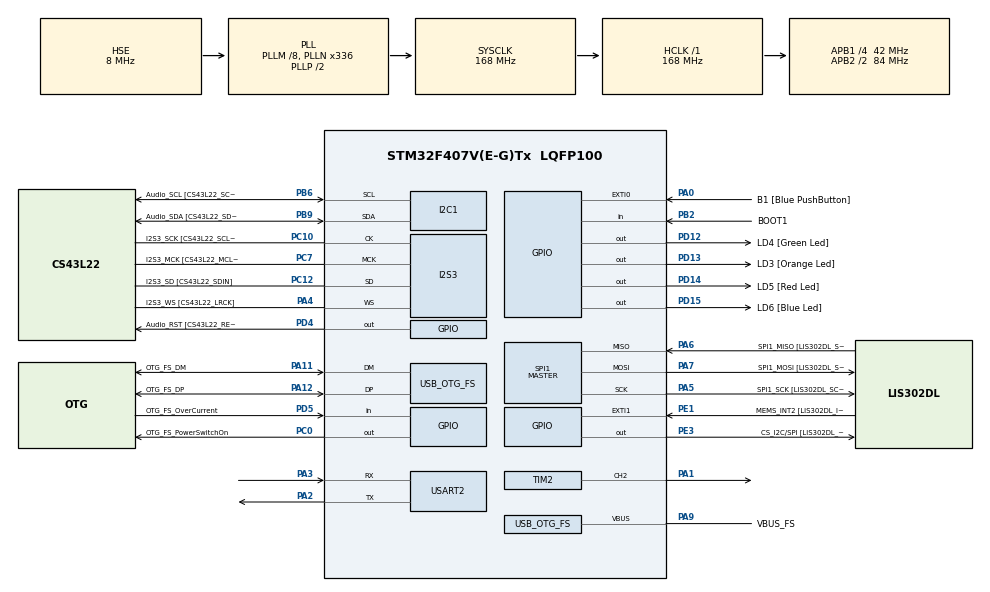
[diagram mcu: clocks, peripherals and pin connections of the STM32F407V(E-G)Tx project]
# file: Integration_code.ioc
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I2S3.AudioFreq-Half_Duplex_Master=I2S_AUDIOFREQ_96K
I2S3.ErrorAudioFreq=-2.34 %
I2S3.ErrorAudioFreq-Half_Duplex_Master=0.8 %
I2S3.FullDuplexMode=I2S_FULLDUPLEXMODE_DISABLE
I2S3.Instance=SPI$Index
I2S3.RealAudioFreq=93.75 KHz
I2S3.RealAudioFreq-Half_Duplex_Master=96.774 KHz
I2S3.VirtualMode=I2S_MODE_MASTER
Mcu.Family=STM32F4
Mcu.Name=STM32F407V(E-G)Tx
Mcu.Package=LQFP100
NVIC.OTG_FS_IRQn=true\:0\:0\:false\:false\:true\:true\:true\:true
NVIC.PriorityGroup=NVIC_PRIORITYGROUP_0
PA0-WKUP.GPIO_Label=B1 [Blue PushButton]
PA0-WKUP.GPIO_ModeDefaultEXTI=GPIO_MODE_EVT_RISING
PA0-WKUP.GPIO_PuPd=GPIO_NOPULL
PA0-WKUP.Signal=GPXTI0
PA1.Signal=S_TIM2_CH2
PA10.GPIO_Label=OTG_FS_ID
PA10.GPIO_Mode=GPIO_MODE_AF_PP
PA10.GPIO_PuPd=GPIO_NOPULL
PA10.GPIO_Speed=GPIO_SPEED_FREQ_LOW
PA10.Signal=USB_OTG_FS_ID
PA11.GPIO_Label=OTG_FS_DM
PA11.GPIO_Mode=GPIO_MODE_AF_PP
PA11.GPIO_PuPd=GPIO_NOPULL
PA11.GPIO_Speed=GPIO_SPEED_FREQ_LOW
PA11.Mode=Host_Only
PA11.Signal=USB_OTG_FS_DM
PA12.GPIO_Label=OTG_FS_DP
PA12.GPIO_Mode=GPIO_MODE_AF_PP
PA12.GPIO_PuPd=GPIO_NOPULL
PA12.GPIO_Speed=GPIO_SPEED_FREQ_LOW
PA12.Mode=Host_Only
PA12.Signal=USB_OTG_FS_DP
PA13.GPIO_Label=SWDIO
PA13.Mode=Serial_Wire
PA13.Signal=SYS_JTMS-SWDIO
PA14.GPIO_Label=SWCLK
PA14.Mode=Serial_Wire
PA14.Signal=SYS_JTCK-SWCLK
PA2.Mode=Asynchronous
PA2.Signal=USART2_TX
PA3.Mode=Asynchronous
PA3.Signal=USART2_RX
PA4.GPIO_Label=I2S3_WS [CS43L22_LRCK]
PA4.GPIO_Mode=GPIO_MODE_AF_PP
PA4.GPIO_PuPd=GPIO_NOPULL
PA4.GPIO_Speed=GPIO_SPEED_FREQ_LOW
PA4.Mode=Half_Duplex_Master
PA4.Signal=I2S3_WS
PA5.GPIO_Label=SPI1_SCK [LIS302DL_SCL/SPC]
PA5.GPIO_Mode=GPIO_MODE_AF_PP
PA5.GPIO_PuPd=GPIO_NOPULL
PA5.GPIO_Speed=GPIO_SPEED_FREQ_LOW
PA5.Mode=Full_Duplex_Master
PA5.Signal=SPI1_SCK
PA6.GPIO_Label=SPI1_MISO [LIS302DL_SDO]
PA6.GPIO_Mode=GPIO_MODE_AF_PP
PA6.GPIO_PuPd=GPIO_NOPULL
PA6.GPIO_Speed=GPIO_SPEED_FREQ_LOW
PA6.Mode=Full_Duplex_Master
PA6.Signal=SPI1_MISO
PA7.GPIO_Label=SPI1_MOSI [LIS302DL_SDA/SDI/SDO]
PA7.GPIO_Mode=GPIO_MODE_AF_PP
PA7.GPIO_PuPd=GPIO_NOPULL
PA7.GPIO_Speed=GPIO_SPEED_FREQ_LOW
PA7.Mode=Full_Duplex_Master
PA7.Signal=SPI1_MOSI
PA9.GPIO_Label=VBUS_FS
PA9.GPIO_Mode=GPIO_MODE_INPUT
PA9.GPIO_PuPd=GPIO_NOPULL
PA9.Mode=Activate_VBUS
PA9.Signal=USB_OTG_FS_VBUS
PB10.GPIO_Label=CLK_IN [MP45DT02_CLK]
PB10.GPIO_Mode=GPIO_MODE_AF_PP
PB10.GPIO_PuPd=GPIO_NOPULL
PB10.GPIO_Speed=GPIO_SPEED_FREQ_LOW
PB10.Signal=I2S2_CK
PB2.GPIO_Label=BOOT1
PB2.GPIO_Mode=GPIO_MODE_INPUT
PB2.GPIO_PuPd=GPIO_NOPULL
PB2.Signal=GPIO_Input
PB3.GPIO_Label=SWO
PB3.Signal=SYS_JTDO-SWO
PB6.GPIO_Label=Audio_SCL [CS43L22_SCL]
PB6.GPIO_Mode=GPIO_MODE_AF_OD
PB6.GPIO_Pu=GPIO_PULLUP
PB6.GPIO_PuPd=GPIO_NOPULL
PB6.GPIO_Speed=GPIO_SPEED_FREQ_LOW
PB6.Mode=I2C
PB6.Signal=I2C1_SCL
PB9.GPIO_Label=Audio_SDA [CS43L22_SDA]
PB9.GPIO_Mode=GPIO_MODE_AF_OD
PB9.GPIO_Pu=GPIO_PULLUP
PB9.GPIO_PuPd=GPIO_NOPULL
PB9.GPIO_Speed=GPIO_SPEED_FREQ_LOW
PB9.Mode=I2C
PB9.Signal=I2C1_SDA
PC0.GPIO_Label=OTG_FS_PowerSwitchOn
PC0.GPIO_PuPd=GPIO_NOPULL
PC0.GPIO_Speed=GPIO_SPEED_FREQ_LOW
PC0.PinState=GPIO_PIN_SET
PC0.Signal=GPIO_Output
PC10.GPIO_Label=I2S3_SCK [CS43L22_SCLK]
PC10.GPIO_Mode=GPIO_MODE_AF_PP
PC10.GPIO_PuPd=GPIO_NOPULL
PC10.GPIO_Speed=GPIO_SPEED_FREQ_LOW
PC10.Mode=Half_Duplex_Master
PC10.Signal=I2S3_CK
PC12.GPIO_Label=I2S3_SD [CS43L22_SDIN]
PC12.GPIO_Mode=GPIO_MODE_AF_PP
PC12.GPIO_PuPd=GPIO_NOPULL
PC12.GPIO_Speed=GPIO_SPEED_FREQ_LOW
PC12.Mode=Half_Duplex_Master
PC12.Signal=I2S3_SD
PC14-OSC32_IN.GPIO_Label=PC14-OSC32_IN
PC14-OSC32_IN.Mode=LSE-External-Oscillator
PC14-OSC32_IN.Signal=RCC_OSC32_IN
PC15-OSC32_OUT.GPIO_Label=PC15-OSC32_OUT
PC15-OSC32_OUT.Mode=LSE-External-Oscillator
PC15-OSC32_OUT.Signal=RCC_OSC32_OUT
PC3.GPIO_Label=PDM_OUT [MP45DT02_DOUT]
PC3.GPIO_Mode=GPIO_MODE_AF_PP
PC3.GPIO_PuPd=GPIO_NOPULL
PC3.GPIO_Speed=GPIO_SPEED_FREQ_LOW
PC3.Signal=I2S2_SD
PC7.GPIO_Label=I2S3_MCK [CS43L22_MCLK]
PC7.GPIO_Mode=GPIO_MODE_AF_PP
PC7.GPIO_PuPd=GPIO_NOPULL
PC7.GPIO_Speed=GPIO_SPEED_FREQ_LOW
PC7.Mode=Master_Clock_Activated
PC7.Signal=I2S3_MCK
PD12.GPIO_Label=LD4 [Green Led]
PD12.GPIO_PuPd=GPIO_NOPULL
PD12.GPIO_Speed=GPIO_SPEED_FREQ_LOW
PD12.Signal=GPIO_Output
PD13.GPIO_Label=LD3 [Orange Led]
PD13.GPIO_PuPd=GPIO_NOPULL
PD13.GPIO_Speed=GPIO_SPEED_FREQ_LOW
PD13.Signal=GPIO_Output
PD14.GPIO_Label=LD5 [Red Led]
PD14.GPIO_PuPd=GPIO_NOPULL
PD14.GPIO_Speed=GPIO_SPEED_FREQ_LOW
PD14.Signal=GPIO_Output
PD15.GPIO_Label=LD6 [Blue Led]
PD15.GPIO_PuPd=GPIO_NOPULL
PD15.GPIO_Speed=GPIO_SPEED_FREQ_LOW
PD15.Signal=GPIO_Output
PD4.GPIO_Label=Audio_RST [CS43L22_RESET]
PD4.GPIO_PuPd=GPIO_NOPULL
PD4.GPIO_Speed=GPIO_SPEED_FREQ_LOW
PD4.Signal=GPIO_Output
PD5.GPIO_Label=OTG_FS_OverCurrent
PD5.GPIO_Mode=GPIO_MODE_INPUT
PD5.GPIO_PuPd=GPIO_NOPULL
PD5.Signal=GPIO_Input
PE1.GPIO_Label=MEMS_INT2 [LIS302DL_INT2]
PE1.GPIO_ModeDefaultEXTI=GPIO_MODE_EVT_RISING
PE1.GPIO_PuPd=GPIO_NOPULL
PE1.Signal=GPXTI1
PE3.GPIO_Label=CS_I2C/SPI [LIS302DL_CS_I2C/SPI]
PE3.GPIO_PuPd=GPIO_NOPULL
PE3.GPIO_Speed=GPIO_SPEED_FREQ_LOW
PE3.Signal=GPIO_Output
PH0-OSC_IN.GPIO_Label=PH0-OSC_IN
PH0-OSC_IN.Mode=HSE-External-Oscillator
PH0-OSC_IN.Signal=RCC_OSC_IN
PH1-OSC_OUT.GPIO_Label=PH1-OSC_OUT
PH1-OSC_OUT.Mode=HSE-External-Oscillator
PH1-OSC_OUT.Signal=RCC_OSC_OUT
ProjectManager.HeapSize=0x200
ProjectManager.StackSize=0x400
ProjectManager.TargetToolchain=STM32CubeIDE
RCC.48MHZClocksFreq_Value=48000000
RCC.AHBFreq_Value=168000000
RCC.APB1CLKDivider=RCC_HCLK_DIV4
RCC.APB1Freq_Value=42000000
RCC.APB1TimFreq_Value=84000000
RCC.APB2CLKDivider=RCC_HCLK_DIV2
RCC.APB2Freq_Value=84000000
RCC.APB2TimFreq_Value=168000000
RCC.CortexFreq_Value=168000000
RCC.HCLKFreq_Value=168000000
RCC.HSE_VALUE=8000000
RCC.HSI_VALUE=16000000
RCC.PLLM=8
RCC.PLLN=336
RCC.PLLQ=7
RCC.SYSCLKFreq_VALUE=168000000
RCC.SYSCLKSource=RCC_SYSCLKSOURCE_PLLCLK
RCC.VCOOutputFreq_Value=336000000
SH.S_TIM2_CH2.0=TIM2_CH2,PWM Generation2 CH2
SPI1.BaudRatePrescaler-Full_Duplex_Master=SPI_BAUDRATEPRESCALER_2
SPI1.CalculateBaudRate-Full_Duplex_Master=42.0 MBits/s
SPI1.Direction=SPI_DIRECTION_2LINES
SPI1.Mode=SPI_MODE_MASTER
SPI1.Mode-Full_Duplex_Master=SPI_MODE_MASTER
SPI1.VirtualType=VM_MASTER
TIM2.Channel-PWM\ Generation2\ CH2=TIM_CHANNEL_2
TIM2.Period=19999
TIM2.Prescaler=83
USART2.VirtualMode=VM_ASYNC
USB_HOST.BSP.number=1
USB_HOST.USBH_HandleTypeDef-CDC_FS=hUsbHostFS
USB_HOST.VirtualModeFS=Cdc
USB_HOST0.BSP.STBoard=false
USB_HOST0.BSP.api=Unknown
USB_HOST0.BSP.instance=PC0
USB_HOST0.BSP.ip=GPIO
USB_HOST0.BSP.mode=Output
USB_HOST0.BSP.name=Drive_VBUS_FS
USB_HOST0.BSP.solution=PC0
USB_OTG_FS.VirtualMode=Host_Only
USB_OTG_FS.phy_itface=HCD_PHY_EMBEDDED
VP_USB_HOST_VS_USB_HOST_CDC_FS.Mode=CDC_FS
board=STM32F407G-DISC1

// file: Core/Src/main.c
/* USER CODE BEGIN Header */
/**
  ******************************************************************************
  * @file           : main.c
  * @brief          : Main program body
  ******************************************************************************
  * @attention
  *
  * Copyright (c) 2025 STMicroelectronics.
  * All rights reserved.
  *
  * This software is licensed under terms that can be found in the LICENSE file
  * in the root directory of this software component.
  * If no LICENSE file comes with this software, it is provided AS-IS.
  *
  ******************************************************************************
  */
/* USER CODE END Header */
#include "main.h"
#include "usb_host.h"

/* USER CODE BEGIN Includes */
#include <stdio.h>
#include <string.h>
#include <stdint.h>
/* USER CODE END Includes */

/* USER CODE BEGIN PTD */
typedef struct __attribute__((packed)) {
    uint8_t btn_flag;   // 1 byte
    float   lx;         // 4 bytes
    float   ly;         // 4 bytes
    float   rx;         // 4 bytes
    float   ry;         // 4 bytes
} Packet;

_Static_assert(sizeof(Packet) == 17, "Packet size mismatch");

/* USER CODE END PTD */

/* USER CODE BEGIN PM */
#define STX								0xAA
/* USER CODE END PM */

I2C_HandleTypeDef hi2c1;

I2S_HandleTypeDef hi2s3;

SPI_HandleTypeDef hspi1;

TIM_HandleTypeDef htim2;

UART_HandleTypeDef huart2;

/* USER CODE BEGIN PV */
uint8_t rx_val;
Packet rx_pkt;
uint8_t ch, len;

/* USER CODE END PV */

void SystemClock_Config(void);
static void MX_GPIO_Init(void);
static void MX_I2C1_Init(void);
static void MX_I2S3_Init(void);
static void MX_SPI1_Init(void);
static void MX_TIM2_Init(void);
static void MX_USART2_UART_Init(void);
void MX_USB_HOST_Process(void);

/* USER CODE BEGIN PFP */
void recieve_uart();

/* USER CODE END PFP */

int main(void)
{

  /* MCU Configuration--------------------------------------------------------*/

  /* Reset of all peripherals, Initializes the Flash interface and the Systick. */
  HAL_Init();

  /* Configure the system clock */
  SystemClock_Config();

  /* Initialize all configured peripherals */
  MX_GPIO_Init();
  MX_I2C1_Init();
  MX_I2S3_Init();
  MX_SPI1_Init();
  MX_USB_HOST_Init();
  MX_TIM2_Init();
  MX_USART2_UART_Init();

  /* Infinite loop */
  /* USER CODE BEGIN WHILE */
  while (1)
  {
	  recieve_uart();
    /* USER CODE END WHILE */
    MX_USB_HOST_Process();

  }
}

void SystemClock_Config(void)
{
  RCC_OscInitTypeDef RCC_OscInitStruct = {0};
  RCC_ClkInitTypeDef RCC_ClkInitStruct = {0};

  /** Configure the main internal regulator output voltage
  */
  __HAL_RCC_PWR_CLK_ENABLE();
  __HAL_PWR_VOLTAGESCALING_CONFIG(PWR_REGULATOR_VOLTAGE_SCALE1);

  /** Initializes the RCC Oscillators according to the specified parameters
  * in the RCC_OscInitTypeDef structure.
  */
  RCC_OscInitStruct.OscillatorType = RCC_OSCILLATORTYPE_HSE;
  RCC_OscInitStruct.HSEState = RCC_HSE_ON;
  RCC_OscInitStruct.PLL.PLLState = RCC_PLL_ON;
  RCC_OscInitStruct.PLL.PLLSource = RCC_PLLSOURCE_HSE;
  RCC_OscInitStruct.PLL.PLLM = 8;
  RCC_OscInitStruct.PLL.PLLN = 336;
  RCC_OscInitStruct.PLL.PLLP = RCC_PLLP_DIV2;
  RCC_OscInitStruct.PLL.PLLQ = 7;
  if (HAL_RCC_OscConfig(&RCC_OscInitStruct) != HAL_OK)
  {
    Error_Handler();
  }

  /** Initializes the CPU, AHB and APB buses clocks
  */
  RCC_ClkInitStruct.ClockType = RCC_CLOCKTYPE_HCLK|RCC_CLOCKTYPE_SYSCLK
                              |RCC_CLOCKTYPE_PCLK1|RCC_CLOCKTYPE_PCLK2;
  RCC_ClkInitStruct.SYSCLKSource = RCC_SYSCLKSOURCE_PLLCLK;
  RCC_ClkInitStruct.AHBCLKDivider = RCC_SYSCLK_DIV1;
  RCC_ClkInitStruct.APB1CLKDivider = RCC_HCLK_DIV4;
  RCC_ClkInitStruct.APB2CLKDivider = RCC_HCLK_DIV2;

  if (HAL_RCC_ClockConfig(&RCC_ClkInitStruct, FLASH_LATENCY_5) != HAL_OK)
  {
    Error_Handler();
  }
}

static void MX_I2C1_Init(void)
{

  hi2c1.Instance = I2C1;
  hi2c1.Init.ClockSpeed = 100000;
  hi2c1.Init.DutyCycle = I2C_DUTYCYCLE_2;
  hi2c1.Init.OwnAddress1 = 0;
  hi2c1.Init.AddressingMode = I2C_ADDRESSINGMODE_7BIT;
  hi2c1.Init.DualAddressMode = I2C_DUALADDRESS_DISABLE;
  hi2c1.Init.OwnAddress2 = 0;
  hi2c1.Init.GeneralCallMode = I2C_GENERALCALL_DISABLE;
  hi2c1.Init.NoStretchMode = I2C_NOSTRETCH_DISABLE;
  if (HAL_I2C_Init(&hi2c1) != HAL_OK)
  {
    Error_Handler();
  }

}

static void MX_I2S3_Init(void)
{

  hi2s3.Instance = SPI3;
  hi2s3.Init.Mode = I2S_MODE_MASTER_TX;
  hi2s3.Init.Standard = I2S_STANDARD_PHILIPS;
  hi2s3.Init.DataFormat = I2S_DATAFORMAT_16B;
  hi2s3.Init.MCLKOutput = I2S_MCLKOUTPUT_ENABLE;
  hi2s3.Init.AudioFreq = I2S_AUDIOFREQ_96K;
  hi2s3.Init.CPOL = I2S_CPOL_LOW;
  hi2s3.Init.ClockSource = I2S_CLOCK_PLL;
  hi2s3.Init.FullDuplexMode = I2S_FULLDUPLEXMODE_DISABLE;
  if (HAL_I2S_Init(&hi2s3) != HAL_OK)
  {
    Error_Handler();
  }

}

static void MX_SPI1_Init(void)
{

  /* SPI1 parameter configuration*/
  hspi1.Instance = SPI1;
  hspi1.Init.Mode = SPI_MODE_MASTER;
  hspi1.Init.Direction = SPI_DIRECTION_2LINES;
  hspi1.Init.DataSize = SPI_DATASIZE_8BIT;
  hspi1.Init.CLKPolarity = SPI_POLARITY_LOW;
  hspi1.Init.CLKPhase = SPI_PHASE_1EDGE;
  hspi1.Init.NSS = SPI_NSS_SOFT;
  hspi1.Init.BaudRatePrescaler = SPI_BAUDRATEPRESCALER_2;
  hspi1.Init.FirstBit = SPI_FIRSTBIT_MSB;
  hspi1.Init.TIMode = SPI_TIMODE_DISABLE;
  hspi1.Init.CRCCalculation = SPI_CRCCALCULATION_DISABLE;
  hspi1.Init.CRCPolynomial = 10;
  if (HAL_SPI_Init(&hspi1) != HAL_OK)
  {
    Error_Handler();
  }

}

static void MX_TIM2_Init(void)
{

  TIM_MasterConfigTypeDef sMasterConfig = {0};
  TIM_OC_InitTypeDef sConfigOC = {0};

  htim2.Instance = TIM2;
  htim2.Init.Prescaler = 83;
  htim2.Init.CounterMode = TIM_COUNTERMODE_UP;
  htim2.Init.Period = 19999;
  htim2.Init.ClockDivision = TIM_CLOCKDIVISION_DIV1;
  htim2.Init.AutoReloadPreload = TIM_AUTORELOAD_PRELOAD_DISABLE;
  if (HAL_TIM_PWM_Init(&htim2) != HAL_OK)
  {
    Error_Handler();
  }
  sMasterConfig.MasterOutputTrigger = TIM_TRGO_RESET;
  sMasterConfig.MasterSlaveMode = TIM_MASTERSLAVEMODE_DISABLE;
  if (HAL_TIMEx_MasterConfigSynchronization(&htim2, &sMasterConfig) != HAL_OK)
  {
    Error_Handler();
  }
  sConfigOC.OCMode = TIM_OCMODE_PWM1;
  sConfigOC.Pulse = 0;
  sConfigOC.OCPolarity = TIM_OCPOLARITY_HIGH;
  sConfigOC.OCFastMode = TIM_OCFAST_DISABLE;
  if (HAL_TIM_PWM_ConfigChannel(&htim2, &sConfigOC, TIM_CHANNEL_2) != HAL_OK)
  {
    Error_Handler();
  }
  HAL_TIM_MspPostInit(&htim2);

}

static void MX_USART2_UART_Init(void)
{

  huart2.Instance = USART2;
  huart2.Init.BaudRate = 115200;
  huart2.Init.WordLength = UART_WORDLENGTH_8B;
  huart2.Init.StopBits = UART_STOPBITS_1;
  huart2.Init.Parity = UART_PARITY_NONE;
  huart2.Init.Mode = UART_MODE_TX_RX;
  huart2.Init.HwFlowCtl = UART_HWCONTROL_NONE;
  huart2.Init.OverSampling = UART_OVERSAMPLING_16;
  if (HAL_UART_Init(&huart2) != HAL_OK)
  {
    Error_Handler();
  }

}

static void MX_GPIO_Init(void)
{
  GPIO_InitTypeDef GPIO_InitStruct = {0};

  /* GPIO Ports Clock Enable */
  __HAL_RCC_GPIOE_CLK_ENABLE();
  __HAL_RCC_GPIOC_CLK_ENABLE();
  __HAL_RCC_GPIOH_CLK_ENABLE();
  __HAL_RCC_GPIOA_CLK_ENABLE();
  __HAL_RCC_GPIOB_CLK_ENABLE();
  __HAL_RCC_GPIOD_CLK_ENABLE();

  /*Configure GPIO pin Output Level */
  HAL_GPIO_WritePin(CS_I2C_SPI_GPIO_Port, CS_I2C_SPI_Pin, GPIO_PIN_RESET);

  /*Configure GPIO pin Output Level */
  HAL_GPIO_WritePin(OTG_FS_PowerSwitchOn_GPIO_Port, OTG_FS_PowerSwitchOn_Pin, GPIO_PIN_SET);

  /*Configure GPIO pin Output Level */
  HAL_GPIO_WritePin(GPIOD, LD4_Pin|LD3_Pin|LD5_Pin|LD6_Pin
                          |Audio_RST_Pin, GPIO_PIN_RESET);

  /*Configure GPIO pin : CS_I2C_SPI_Pin */
  GPIO_InitStruct.Pin = CS_I2C_SPI_Pin;
  GPIO_InitStruct.Mode = GPIO_MODE_OUTPUT_PP;
  GPIO_InitStruct.Pull = GPIO_NOPULL;
  GPIO_InitStruct.Speed = GPIO_SPEED_FREQ_LOW;
  HAL_GPIO_Init(CS_I2C_SPI_GPIO_Port, &GPIO_InitStruct);

  /*Configure GPIO pin : OTG_FS_PowerSwitchOn_Pin */
  GPIO_InitStruct.Pin = OTG_FS_PowerSwitchOn_Pin;
  GPIO_InitStruct.Mode = GPIO_MODE_OUTPUT_PP;
  GPIO_InitStruct.Pull = GPIO_NOPULL;
  GPIO_InitStruct.Speed = GPIO_SPEED_FREQ_LOW;
  HAL_GPIO_Init(OTG_FS_PowerSwitchOn_GPIO_Port, &GPIO_InitStruct);

  /*Configure GPIO pin : PDM_OUT_Pin */
  GPIO_InitStruct.Pin = PDM_OUT_Pin;
  GPIO_InitStruct.Mode = GPIO_MODE_AF_PP;
  GPIO_InitStruct.Pull = GPIO_NOPULL;
  GPIO_InitStruct.Speed = GPIO_SPEED_FREQ_LOW;
  GPIO_InitStruct.Alternate = GPIO_AF5_SPI2;
  HAL_GPIO_Init(PDM_OUT_GPIO_Port, &GPIO_InitStruct);

  /*Configure GPIO pin : B1_Pin */
  GPIO_InitStruct.Pin = B1_Pin;
  GPIO_InitStruct.Mode = GPIO_MODE_EVT_RISING;
  GPIO_InitStruct.Pull = GPIO_NOPULL;
  HAL_GPIO_Init(B1_GPIO_Port, &GPIO_InitStruct);

  /*Configure GPIO pin : BOOT1_Pin */
  GPIO_InitStruct.Pin = BOOT1_Pin;
  GPIO_InitStruct.Mode = GPIO_MODE_INPUT;
  GPIO_InitStruct.Pull = GPIO_NOPULL;
  HAL_GPIO_Init(BOOT1_GPIO_Port, &GPIO_InitStruct);

  /*Configure GPIO pin : CLK_IN_Pin */
  GPIO_InitStruct.Pin = CLK_IN_Pin;
  GPIO_InitStruct.Mode = GPIO_MODE_AF_PP;
  GPIO_InitStruct.Pull = GPIO_NOPULL;
  GPIO_InitStruct.Speed = GPIO_SPEED_FREQ_LOW;
  GPIO_InitStruct.Alternate = GPIO_AF5_SPI2;
  HAL_GPIO_Init(CLK_IN_GPIO_Port, &GPIO_InitStruct);

  /*Configure GPIO pins : LD4_Pin LD3_Pin LD5_Pin LD6_Pin
                           Audio_RST_Pin */
  GPIO_InitStruct.Pin = LD4_Pin|LD3_Pin|LD5_Pin|LD6_Pin
                          |Audio_RST_Pin;
  GPIO_InitStruct.Mode = GPIO_MODE_OUTPUT_PP;
  GPIO_InitStruct.Pull = GPIO_NOPULL;
  GPIO_InitStruct.Speed = GPIO_SPEED_FREQ_LOW;
  HAL_GPIO_Init(GPIOD, &GPIO_InitStruct);

  /*Configure GPIO pin : OTG_FS_OverCurrent_Pin */
  GPIO_InitStruct.Pin = OTG_FS_OverCurrent_Pin;
  GPIO_InitStruct.Mode = GPIO_MODE_INPUT;
  GPIO_InitStruct.Pull = GPIO_NOPULL;
  HAL_GPIO_Init(OTG_FS_OverCurrent_GPIO_Port, &GPIO_InitStruct);

  /*Configure GPIO pin : MEMS_INT2_Pin */
  GPIO_InitStruct.Pin = MEMS_INT2_Pin;
  GPIO_InitStruct.Mode = GPIO_MODE_EVT_RISING;
  GPIO_InitStruct.Pull = GPIO_NOPULL;
  HAL_GPIO_Init(MEMS_INT2_GPIO_Port, &GPIO_InitStruct);

}

/* USER CODE BEGIN 4 */
void recieve_uart(){
	while(1){
		 do {
			  HAL_UART_Receive(&huart2, &ch, 1, HAL_MAX_DELAY);
		 }while (ch != STX);

		// Read length
		HAL_UART_Receive(&huart2, &len, 1, HAL_MAX_DELAY);
		if (len != sizeof(Packet)) {
			 continue;
	}

		// Read payload directly into struct
		HAL_UART_Receive(&huart2, (uint8_t*)&rx_pkt, len, HAL_MAX_DELAY);
		break;
	}
	// Use values directly
	printf("FLAG = %02X | LX = %.2f | LY = %.2f | RX = %.2f | RY = %.2f\n", rx_pkt.btn_flag,  rx_pkt.lx, rx_pkt.ly, rx_pkt.rx, rx_pkt.ry);
}
/* USER CODE END 4 */

void Error_Handler(void)
{
  __disable_irq();
  while (1)
  {
  }
}
